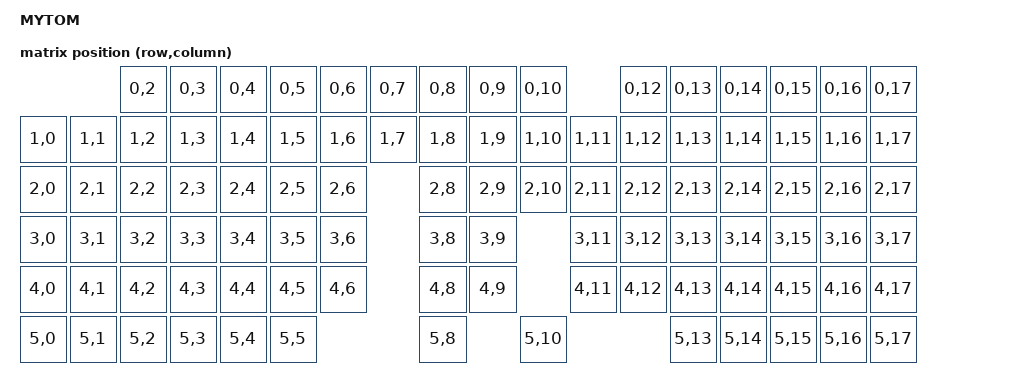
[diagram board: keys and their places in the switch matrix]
/*
# Copyright (c) 2021 The ZMK Contributors
*
* SPDX-License-Identifier: MIT
*/

#include <nordic/nrf52840_qiaa.dtsi>
#include <dt-bindings/zmk/matrix_transform.h>

/ {
	model = "MYTOM";
	compatible = "mytom,v1";

	chosen {
		zephyr,code-partition = &code_partition;
		zephyr,sram = &sram0;
		zephyr,flash = &flash0;
		zmk,kscan = &kscan0;
		zmk,matrix_transform = &default_transform;
	};

	default_transform: keymap_transform_0 {
		compatible = "zmk,matrix-transform";
		columns = <18>;
		rows = <6>;
		map = <
			                RC(0,2) RC(0,3) RC(0,4) RC(0,5) RC(0,6) RC(0,7) RC(0,8)        RC(0,9) RC(0,10)          RC(0,12) RC(0,13) RC(0,14) RC(0,15) RC(0,16) RC(0,17)
			RC(1,0) RC(1,1) RC(1,2) RC(1,3) RC(1,4) RC(1,5) RC(1,6) RC(1,7) RC(1,8)        RC(1,9) RC(1,10) RC(1,11) RC(1,12) RC(1,13) RC(1,14) RC(1,15) RC(1,16) RC(1,17)
			RC(2,0) RC(2,1) RC(2,2) RC(2,3) RC(2,4) RC(2,5) RC(2,6)         RC(2,8)        RC(2,9) RC(2,10) RC(2,11) RC(2,12) RC(2,13) RC(2,14) RC(2,15) RC(2,16) RC(2,17)
			RC(3,0) RC(3,1) RC(3,2) RC(3,3) RC(3,4) RC(3,5) RC(3,6)         RC(3,8)        RC(3,9)          RC(3,11) RC(3,12) RC(3,13) RC(3,14) RC(3,15) RC(3,16) RC(3,17) 
			RC(4,0) RC(4,1) RC(4,2) RC(4,3) RC(4,4) RC(4,5) RC(4,6)         RC(4,8)        RC(4,9)          RC(4,11) RC(4,12) RC(4,13) RC(4,14) RC(4,15) RC(4,16) RC(4,17)
			RC(5,0) RC(5,1) RC(5,2) RC(5,3) RC(5,4) RC(5,5)                 RC(5,8)                RC(5,10)                   RC(5,13) RC(5,14) RC(5,15) RC(5,16) RC(5,17)
		>;
	};
};

&adc {
	status = "okay";
};

&gpiote {
	status = "okay";
};

&gpio0 {
	status = "okay";
};

&gpio1 {
	status = "okay";
};

&spi1 {
	compatible = "nordic,nrf-spim";
};

&spi0 {
	compatible = "nordic,nrf-spim";
};

&usbd {
	status = "okay";
	cdc_acm_uart: cdc_acm_uart {
	compatible = "zephyr,cdc-acm-uart";
	label = "CDC_ACM_0";
      };
};


&flash0 {
	/*
	 * For more information, see:
	 * http://docs.zephyrproject.org/latest/devices/dts/flash_partitions.html
	 */
	partitions {
		compatible = "fixed-partitions";
		#address-cells = <1>;
		#size-cells = <1>;

		sd_partition: partition@0 {
			label = "softdevice";
			reg = <0x00000000 0x00026000>;
		};
		code_partition: partition@26000 {
			label = "code_partition";
			reg = <0x00026000 0x000c6000>;
		};

		/*
		 * The flash starting at 0x000ec000 and ending at
		 * 0x000f3fff is reserved for use by the application.
		 */

		/*
		 * Storage partition will be used by FCB/LittleFS/NVS
		 * if enabled.
		 */
		storage_partition: partition@ec000 {
			label = "storage";
			reg = <0x000ec000 0x00008000>;
		};

		boot_partition: partition@f4000 {
			label = "adafruit_boot";
			reg = <0x000f4000 0x0000c000>;
		};
	};
};
